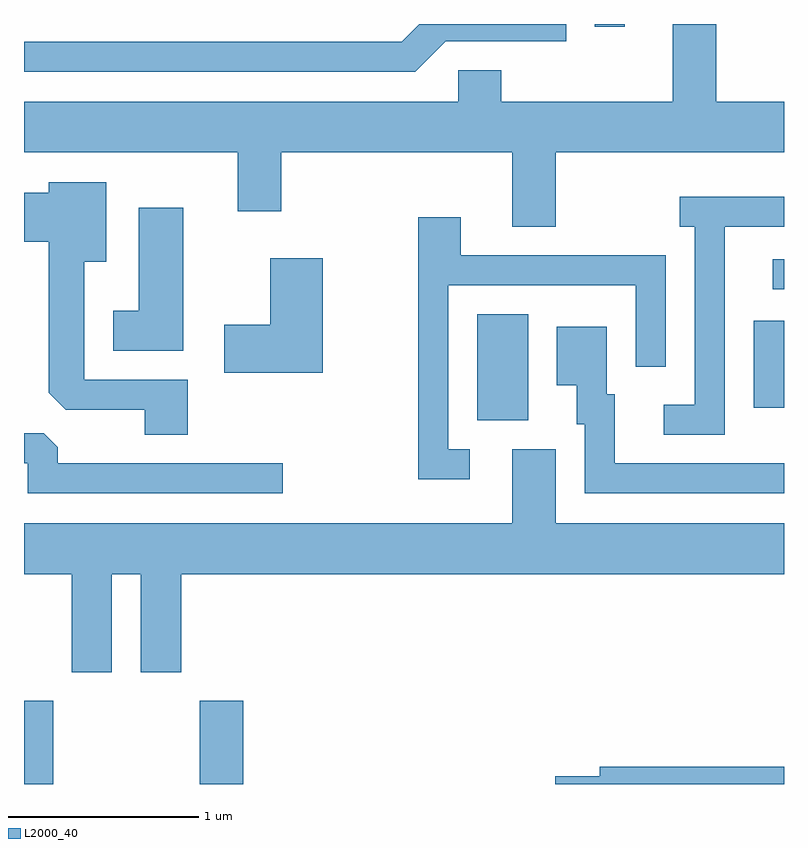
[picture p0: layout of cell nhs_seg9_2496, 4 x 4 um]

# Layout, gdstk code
import gdstk
lib = gdstk.Library(unit=1e-6, precision=1e-09)
def R(c, l, rs):  # rectangles x0, y0, x1, y1
    for r in rs: c.add(gdstk.rectangle(r[:2], r[2:], *l))
def P(c, l, *ps):  # polygons
    for p in ps: c.add(gdstk.Polygon(p, *l))
L2000_40 = (2000, 40)

nhs_seg9_2496 = lib.new_cell('nhs_seg9_2496')
R(nhs_seg9_2496, L2000_40, [(257.611,2048.432,257.764,2048.869), (258.536,2048.432,258.764,2048.869), (259.996,2050.346,260.264,2050.904), (261.451,2050.411,261.611,2050.869), (261.553,2051.036,261.611,2051.194), (260.616,2052.418,260.774,2052.432)])
P(nhs_seg9_2496, L2000_40, [(260.409,2051.756),(261.611,2051.756),(261.611,2052.024),(261.254,2052.024),(261.254,2052.432),(261.026,2052.432),(261.026,2052.024),(260.124,2052.024),(260.124,2052.189),(259.896,2052.189),(259.896,2052.024),(257.611,2052.024),(257.611,2051.756),(258.736,2051.756),(258.736,2051.446),(258.964,2051.446),(258.964,2051.756),(260.181,2051.756),(260.181,2051.366),(260.409,2051.366)],
  [(259.832,2052.341),(260.464,2052.341),(260.464,2052.432),(259.692,2052.432),(259.599,2052.339),(257.611,2052.339),(257.611,2052.181),(259.671,2052.181)],
  [(258.474,2050.559),(257.929,2050.559),(257.929,2051.181),(258.044,2051.181),(258.044,2051.599),(257.741,2051.599),(257.741,2051.544),(257.611,2051.544),(257.611,2051.286),(257.741,2051.286),(257.741,2050.492),(257.832,2050.401),(258.246,2050.401),(258.246,2050.271),(258.474,2050.271)],
  [(261.299,2051.366),(261.611,2051.366),(261.611,2051.524),(261.063,2051.524),(261.063,2051.366),(261.141,2051.366),(261.141,2050.429),(260.978,2050.429),(260.978,2050.271),(261.299,2050.271)],
  [(258.449,2051.464),(258.216,2051.464),(258.216,2050.924),(258.081,2050.924),(258.081,2050.711),(258.449,2050.711)],
  [(259.957,2050.194),(259.844,2050.194),(259.844,2051.056),(260.831,2051.056),(260.831,2050.628),(260.989,2050.628),(260.989,2051.214),(259.909,2051.214),(259.909,2051.414),(259.686,2051.414),(259.686,2050.036),(259.957,2050.036)],
  [(259.184,2051.199),(258.906,2051.199),(258.906,2050.849),(258.666,2050.849),(258.666,2050.596),(259.184,2050.596)],
  [(261.611,2050.119),(260.719,2050.119),(260.719,2050.484),(260.679,2050.484),(260.679,2050.839),(260.416,2050.839),(260.416,2050.531),(260.521,2050.531),(260.521,2050.326),(260.561,2050.326),(260.561,2049.961),(261.611,2049.961)],
  [(258.973,2050.119),(257.789,2050.119),(257.789,2050.204),(257.714,2050.279),(257.611,2050.279),(257.611,2050.121),(257.631,2050.121),(257.631,2049.961),(258.973,2049.961)],
  [(258.074,2049.536),(258.226,2049.536),(258.226,2049.021),(258.439,2049.021),(258.439,2049.536),(261.611,2049.536),(261.611,2049.804),(260.409,2049.804),(260.409,2050.194),(260.181,2050.194),(260.181,2049.804),(257.611,2049.804),(257.611,2049.536),(257.861,2049.536),(257.861,2049.021),(258.074,2049.021)],
  [(261.611,2048.524),(260.641,2048.524),(260.641,2048.474),(260.406,2048.474),(260.406,2048.432),(261.611,2048.432)])

lib.write_gds('nhs_seg9_2496.gds')
